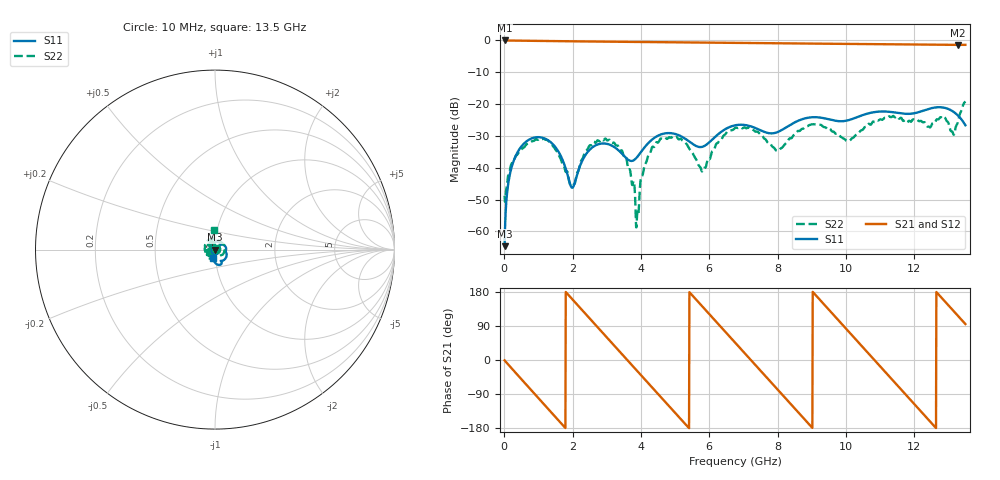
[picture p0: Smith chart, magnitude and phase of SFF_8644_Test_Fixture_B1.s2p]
!Keysight Technologies,N5231B,MY57181281,A.17.25.05
!Automatic Fixture Removal (AFR)
!Date: Friday, March 07, 2025, 04:12:54
!S2P File: Measurements: S11,S21,S12,S22:
# MHz S  RI  R 50
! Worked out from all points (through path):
!   1350 points, 10 MHz to 13.5 GHz, reference 50 ohm
!   highest |S21| = -0.01 dB at 10 MHz (marker M1); lowest = -1.4 dB at 13.27 GHz (marker M2)
!   group delay of S21, straight-line fit = 277 ps
!   lowest |S11| = -64.6 dB at 10 MHz (marker M3), VSWR 1.00, Z = 50 - j0.0512 ohm
!   |S11| at or under -10 dB: start of sweep to end of sweep
!   |S22| runs from -58.7 to -19.2 dB; largest |S21 - S12| = 1.4e-15
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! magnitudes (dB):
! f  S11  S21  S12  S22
! 10 MHz  -64.6  0.0  0.0  -48.8
! 100 MHz  -46.3  0.0  0.0  -43.3
! 190 MHz  -40.9  -0.1  -0.1  -39.4
! 610 MHz  -32.1  -0.1  -0.1  -33.2
! 1.39 GHz  -32.3  -0.2  -0.2  -32.7
! 1.98 GHz  -46.3  -0.3  -0.3  -45.4
! 2.26 GHz  -38.3  -0.3  -0.3  -37.6
! 2.66 GHz  -33.0  -0.4  -0.4  -32.1
! 3.28 GHz  -33.9  -0.4  -0.4  -33.0
! 3.62 GHz  -37.4  -0.5  -0.5  -40.0
! 3.89 GHz  -36.6  -0.5  -0.5  -54.5
! 4.06 GHz  -34.2  -0.5  -0.5  -41.9
! 4.51 GHz  -29.9  -0.6  -0.6  -32.0
! 5.21 GHz  -30.3  -0.6  -0.6  -31.4
! 5.82 GHz  -33.3  -0.7  -0.7  -40.6
! 6.76 GHz  -26.7  -0.8  -0.8  -27.5
! 8 GHz  -28.8  -0.9  -0.9  -34.7
! 9.01 GHz  -24.1  -1.0  -1.0  -26.4
! 10.07 GHz  -25.1  -1.1  -1.1  -31.6
! 11.26 GHz  -22.4  -1.2  -1.2  -23.9
! 13.27 GHz  -23.5  -1.4  -1.4  -26.0
! 13.5 GHz  -26.6  -1.4  -1.4  -19.2
